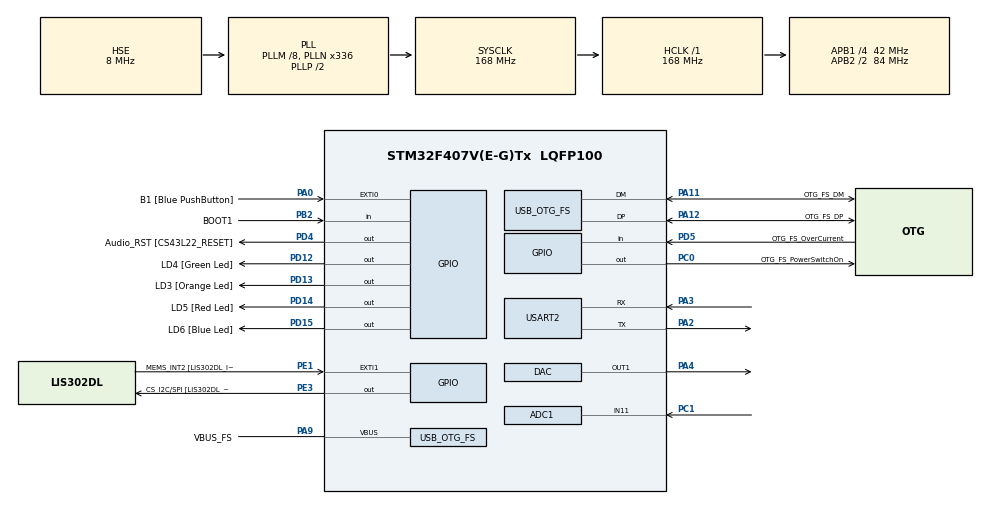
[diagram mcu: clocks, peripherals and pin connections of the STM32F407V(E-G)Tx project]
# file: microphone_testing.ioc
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ADC1.Channel-2\#ChannelRegularConversion=ADC_CHANNEL_11
ADC1.ContinuousConvMode=ENABLE
ADC1.NbrOfConversion=1
ADC1.NbrOfConversionFlag=1
ADC1.Rank-2\#ChannelRegularConversion=1
ADC1.SamplingTime-2\#ChannelRegularConversion=ADC_SAMPLETIME_3CYCLES
ADC1.master=1
Mcu.Family=STM32F4
Mcu.Name=STM32F407V(E-G)Tx
Mcu.Package=LQFP100
NVIC.ADC_IRQn=true\:0\:0\:false\:false\:true\:true\:true
NVIC.OTG_FS_IRQn=true\:0\:0\:false\:false\:true\:true\:true
NVIC.PriorityGroup=NVIC_PRIORITYGROUP_0
NVIC.USART2_IRQn=true\:0\:0\:false\:false\:true\:true\:true
PA0-WKUP.GPIO_Label=B1 [Blue PushButton]
PA0-WKUP.GPIO_ModeDefaultEXTI=GPIO_MODE_EVT_RISING
PA0-WKUP.GPIO_PuPd=GPIO_NOPULL
PA0-WKUP.Signal=GPXTI0
PA10.GPIO_Label=OTG_FS_ID
PA10.GPIO_Mode=GPIO_MODE_AF_PP
PA10.GPIO_PuPd=GPIO_NOPULL
PA10.GPIO_Speed=GPIO_SPEED_FREQ_LOW
PA10.Signal=USB_OTG_FS_ID
PA11.GPIO_Label=OTG_FS_DM
PA11.GPIO_Mode=GPIO_MODE_AF_PP
PA11.GPIO_PuPd=GPIO_NOPULL
PA11.GPIO_Speed=GPIO_SPEED_FREQ_LOW
PA11.Mode=Host_Only
PA11.Signal=USB_OTG_FS_DM
PA12.GPIO_Label=OTG_FS_DP
PA12.GPIO_Mode=GPIO_MODE_AF_PP
PA12.GPIO_PuPd=GPIO_NOPULL
PA12.GPIO_Speed=GPIO_SPEED_FREQ_LOW
PA12.Mode=Host_Only
PA12.Signal=USB_OTG_FS_DP
PA13.GPIO_Label=SWDIO
PA13.Mode=Serial_Wire
PA13.Signal=SYS_JTMS-SWDIO
PA14.GPIO_Label=SWCLK
PA14.Mode=Serial_Wire
PA14.Signal=SYS_JTCK-SWCLK
PA2.Mode=Asynchronous
PA2.Signal=USART2_TX
PA3.Mode=Asynchronous
PA3.Signal=USART2_RX
PA4.Signal=COMP_DAC1_group
PA9.GPIO_Label=VBUS_FS
PA9.GPIO_Mode=GPIO_MODE_INPUT
PA9.GPIO_PuPd=GPIO_NOPULL
PA9.Mode=Activate_VBUS
PA9.Signal=USB_OTG_FS_VBUS
PB2.GPIO_Label=BOOT1
PB2.GPIO_Mode=GPIO_MODE_INPUT
PB2.GPIO_PuPd=GPIO_NOPULL
PB2.Signal=GPIO_Input
PB3.GPIO_Label=SWO
PB3.Signal=SYS_JTDO-SWO
PC0.GPIO_Label=OTG_FS_PowerSwitchOn
PC0.GPIO_PuPd=GPIO_NOPULL
PC0.GPIO_Speed=GPIO_SPEED_FREQ_LOW
PC0.PinState=GPIO_PIN_SET
PC0.Signal=GPIO_Output
PC1.Signal=ADCx_IN11
PC14-OSC32_IN.GPIO_Label=PC14-OSC32_IN
PC14-OSC32_IN.Mode=LSE-External-Oscillator
PC14-OSC32_IN.Signal=RCC_OSC32_IN
PC15-OSC32_OUT.GPIO_Label=PC15-OSC32_OUT
PC15-OSC32_OUT.Mode=LSE-External-Oscillator
PC15-OSC32_OUT.Signal=RCC_OSC32_OUT
PC3.GPIO_Label=PDM_OUT [MP45DT02_DOUT]
PC3.GPIO_Mode=GPIO_MODE_AF_PP
PC3.GPIO_PuPd=GPIO_NOPULL
PC3.GPIO_Speed=GPIO_SPEED_FREQ_LOW
PC3.Signal=I2S2_SD
PD12.GPIO_Label=LD4 [Green Led]
PD12.GPIO_PuPd=GPIO_NOPULL
PD12.GPIO_Speed=GPIO_SPEED_FREQ_LOW
PD12.Signal=GPIO_Output
PD13.GPIO_Label=LD3 [Orange Led]
PD13.GPIO_PuPd=GPIO_NOPULL
PD13.GPIO_Speed=GPIO_SPEED_FREQ_LOW
PD13.Signal=GPIO_Output
PD14.GPIO_Label=LD5 [Red Led]
PD14.GPIO_PuPd=GPIO_NOPULL
PD14.GPIO_Speed=GPIO_SPEED_FREQ_LOW
PD14.Signal=GPIO_Output
PD15.GPIO_Label=LD6 [Blue Led]
PD15.GPIO_PuPd=GPIO_NOPULL
PD15.GPIO_Speed=GPIO_SPEED_FREQ_LOW
PD15.Signal=GPIO_Output
PD4.GPIO_Label=Audio_RST [CS43L22_RESET]
PD4.GPIO_PuPd=GPIO_NOPULL
PD4.GPIO_Speed=GPIO_SPEED_FREQ_LOW
PD4.Signal=GPIO_Output
PD5.GPIO_Label=OTG_FS_OverCurrent
PD5.GPIO_Mode=GPIO_MODE_INPUT
PD5.GPIO_PuPd=GPIO_NOPULL
PD5.Signal=GPIO_Input
PE1.GPIO_Label=MEMS_INT2 [LIS302DL_INT2]
PE1.GPIO_ModeDefaultEXTI=GPIO_MODE_EVT_RISING
PE1.GPIO_PuPd=GPIO_NOPULL
PE1.Signal=GPXTI1
PE3.GPIO_Label=CS_I2C/SPI [LIS302DL_CS_I2C/SPI]
PE3.GPIO_PuPd=GPIO_NOPULL
PE3.GPIO_Speed=GPIO_SPEED_FREQ_LOW
PE3.Signal=GPIO_Output
PH0-OSC_IN.GPIO_Label=PH0-OSC_IN
PH0-OSC_IN.Mode=HSE-External-Oscillator
PH0-OSC_IN.Signal=RCC_OSC_IN
PH1-OSC_OUT.GPIO_Label=PH1-OSC_OUT
PH1-OSC_OUT.Mode=HSE-External-Oscillator
PH1-OSC_OUT.Signal=RCC_OSC_OUT
ProjectManager.HeapSize=0x200
ProjectManager.StackSize=0x400
ProjectManager.TargetToolchain=STM32CubeIDE
RCC.48MHZClocksFreq_Value=48000000
RCC.AHBFreq_Value=168000000
RCC.APB1CLKDivider=RCC_HCLK_DIV4
RCC.APB1Freq_Value=42000000
RCC.APB1TimFreq_Value=84000000
RCC.APB2CLKDivider=RCC_HCLK_DIV2
RCC.APB2Freq_Value=84000000
RCC.APB2TimFreq_Value=168000000
RCC.CortexFreq_Value=168000000
RCC.HCLKFreq_Value=168000000
RCC.HSE_VALUE=8000000
RCC.HSI_VALUE=16000000
RCC.PLLM=8
RCC.PLLN=336
RCC.PLLQ=7
RCC.SYSCLKFreq_VALUE=168000000
RCC.SYSCLKSource=RCC_SYSCLKSOURCE_PLLCLK
RCC.VCOOutputFreq_Value=336000000
SH.ADCx_IN11.0=ADC1_IN11,IN11
SH.COMP_DAC1_group.0=DAC_OUT1,DAC_OUT1
USART2.VirtualMode=VM_ASYNC
USB_HOST.BSP.number=1
USB_HOST.USBH_HandleTypeDef-CDC_FS=hUsbHostFS
USB_HOST.VirtualModeFS=Cdc
USB_HOST0.BSP.STBoard=false
USB_HOST0.BSP.api=Unknown
USB_HOST0.BSP.i2caddr=0
USB_HOST0.BSP.i2creg=0
USB_HOST0.BSP.instance=PC0
USB_HOST0.BSP.ip=GPIO
USB_HOST0.BSP.mode=Output
USB_HOST0.BSP.name=Drive_VBUS_FS
USB_HOST0.BSP.solution=PC0
USB_OTG_FS.VirtualMode=Host_Only
USB_OTG_FS.phy_itface=HCD_PHY_EMBEDDED
VP_USB_HOST_VS_USB_HOST_CDC_FS.Mode=CDC_FS
board=STM32F407G-DISC1

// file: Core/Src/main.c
/* USER CODE BEGIN Header */
/**
  ******************************************************************************
  * @file           : main.c
  * @brief          : Main program body
  ******************************************************************************
  * @attention
  *
  * <h2><center>&copy; Copyright (c) 2020 STMicroelectronics.
  * All rights reserved.</center></h2>
  *
  * This software component is licensed by ST under Ultimate Liberty license
  * SLA0044, the "License"; You may not use this file except in compliance with
  * the License. You may obtain a copy of the License at:
  *                             www.st.com/SLA0044
  *
  ******************************************************************************
  */
/* USER CODE END Header */
#include "main.h"
#include "usb_host.h"

/* USER CODE BEGIN Includes */
#include "UART/uart.h"
/* USER CODE END Includes */

/* USER CODE BEGIN PTD */
typedef enum
{
	HALT=0,
	SEND,
	RECIEVE
}statemode;y
/* USER CODE END PTD */

ADC_HandleTypeDef hadc1;

DAC_HandleTypeDef hdac;

UART_HandleTypeDef huart2;

/* USER CODE BEGIN PV */
statemode mode=HALT;
uint8_t lastdata=0;
uint8_t data;

uint16_t adcinputvalue;
uint16_t adcoutputvalue;

char UARTgetchar[1],UARTbuffer[20];
uint8_t newblockdata=0;
uint8_t devicerecieve=0;

uint32_t globaldata=0;
/* USER CODE END PV */

void SystemClock_Config(void);
static void MX_GPIO_Init(void);
static void MX_ADC1_Init(void);
static void MX_DAC_Init(void);
static void MX_USART2_UART_Init(void);
void MX_USB_HOST_Process(void);

/* USER CODE BEGIN 0 */
void soundout()
{
	HAL_DAC_SetValue(&hdac, DAC_CHANNEL_1, DAC_ALIGN_12B_R, (uint32_t)adcinputvalue);
}

void HAL_ADC_ConvCpltCallback(ADC_HandleTypeDef* hadc)
{
	if(hadc->Instance==hadc1.Instance)
		adcinputvalue=HAL_ADC_GetValue(hadc);
}

void HAL_UART_RxCpltCallback(UART_HandleTypeDef *huart)
{
	if(huart->Instance==USART2)
	{
		if(newblockdata==0)
			getdata();
		HAL_UART_Receive_IT(&huart2, UARTgetchar, 1);
	}
}
/* USER CODE END 0 */

int main(void)
{

  /* MCU Configuration--------------------------------------------------------*/

  /* Reset of all peripherals, Initializes the Flash interface and the Systick. */
  HAL_Init();

  /* Configure the system clock */
  SystemClock_Config();

  /* Initialize all configured peripherals */
  MX_GPIO_Init();
  MX_USB_HOST_Init();
  MX_ADC1_Init();
  MX_DAC_Init();
  MX_USART2_UART_Init();
  /* USER CODE BEGIN 2 */
  HAL_ADC_Start_IT(&hadc1);
  HAL_DAC_Start(&hdac, DAC_CHANNEL_1);
  HAL_UART_Receive_IT(&huart2, UARTgetchar, 1);
  /* USER CODE END 2 */

  /* Infinite loop */
  /* USER CODE BEGIN WHILE */
  while (1)
  {
	uint8_t lengthbuffer;
	uint16_t checksum;

	data=HAL_GPIO_ReadPin(GPIOA, GPIO_PIN_0);
    /* USER CODE END WHILE */
    MX_USB_HOST_Process();

    /* USER CODE BEGIN 3 */
    if (newblockdata==1)
    {
    	uint8_t var,var1;
    	uint16_t copy=0;
    	char cache[5];

    	lengthbuffer=strlen(UARTbuffer);
    	for (var = 0; var < lengthbuffer; ++var)
    	{
			if(UARTbuffer[var]=='.')
			{
				if (!strcmp(cache,"STA"))
					mode=RECIEVE;
				else if (!strcmp(cache,"END"))
					mode=HALT;
				else if(copy>0)
				{
					if(copy==1)
						adcoutputvalue=strtol(cache, &cache, 10);
					else
						checksum=strtol(cache, &cache, 10);
				}
				var1=0;
				++copy;
			}
			else
				cache[var1++]=UARTbuffer[var];
		}
	}
    switch (mode) {
		case HALT:
			newblockdata=0;
			break;
		case SEND:
			break;
		case RECIEVE:
			if(che)
			newblockdata=0;
			break;
		default:
			break;
	}
    lastdata=data;
  }
  /* USER CODE END 3 */
}

void SystemClock_Config(void)
{
  RCC_OscInitTypeDef RCC_OscInitStruct = {0};
  RCC_ClkInitTypeDef RCC_ClkInitStruct = {0};

  /** Configure the main internal regulator output voltage
  */
  __HAL_RCC_PWR_CLK_ENABLE();
  __HAL_PWR_VOLTAGESCALING_CONFIG(PWR_REGULATOR_VOLTAGE_SCALE1);
  /** Initializes the RCC Oscillators according to the specified parameters
  * in the RCC_OscInitTypeDef structure.
  */
  RCC_OscInitStruct.OscillatorType = RCC_OSCILLATORTYPE_HSE;
  RCC_OscInitStruct.HSEState = RCC_HSE_ON;
  RCC_OscInitStruct.PLL.PLLState = RCC_PLL_ON;
  RCC_OscInitStruct.PLL.PLLSource = RCC_PLLSOURCE_HSE;
  RCC_OscInitStruct.PLL.PLLM = 8;
  RCC_OscInitStruct.PLL.PLLN = 336;
  RCC_OscInitStruct.PLL.PLLP = RCC_PLLP_DIV2;
  RCC_OscInitStruct.PLL.PLLQ = 7;
  if (HAL_RCC_OscConfig(&RCC_OscInitStruct) != HAL_OK)
  {
    Error_Handler();
  }
  /** Initializes the CPU, AHB and APB buses clocks
  */
  RCC_ClkInitStruct.ClockType = RCC_CLOCKTYPE_HCLK|RCC_CLOCKTYPE_SYSCLK
                              |RCC_CLOCKTYPE_PCLK1|RCC_CLOCKTYPE_PCLK2;
  RCC_ClkInitStruct.SYSCLKSource = RCC_SYSCLKSOURCE_PLLCLK;
  RCC_ClkInitStruct.AHBCLKDivider = RCC_SYSCLK_DIV1;
  RCC_ClkInitStruct.APB1CLKDivider = RCC_HCLK_DIV4;
  RCC_ClkInitStruct.APB2CLKDivider = RCC_HCLK_DIV2;

  if (HAL_RCC_ClockConfig(&RCC_ClkInitStruct, FLASH_LATENCY_5) != HAL_OK)
  {
    Error_Handler();
  }
}

static void MX_ADC1_Init(void)
{

  ADC_ChannelConfTypeDef sConfig = {0};

  /** Configure the global features of the ADC (Clock, Resolution, Data Alignment and number of conversion)
  */
  hadc1.Instance = ADC1;
  hadc1.Init.ClockPrescaler = ADC_CLOCK_SYNC_PCLK_DIV4;
  hadc1.Init.Resolution = ADC_RESOLUTION_12B;
  hadc1.Init.ScanConvMode = DISABLE;
  hadc1.Init.ContinuousConvMode = ENABLE;
  hadc1.Init.DiscontinuousConvMode = DISABLE;
  hadc1.Init.ExternalTrigConvEdge = ADC_EXTERNALTRIGCONVEDGE_NONE;
  hadc1.Init.ExternalTrigConv = ADC_SOFTWARE_START;
  hadc1.Init.DataAlign = ADC_DATAALIGN_RIGHT;
  hadc1.Init.NbrOfConversion = 1;
  hadc1.Init.DMAContinuousRequests = DISABLE;
  hadc1.Init.EOCSelection = ADC_EOC_SINGLE_CONV;
  if (HAL_ADC_Init(&hadc1) != HAL_OK)
  {
    Error_Handler();
  }
  /** Configure for the selected ADC regular channel its corresponding rank in the sequencer and its sample time.
  */
  sConfig.Channel = ADC_CHANNEL_11;
  sConfig.Rank = 1;
  sConfig.SamplingTime = ADC_SAMPLETIME_3CYCLES;
  if (HAL_ADC_ConfigChannel(&hadc1, &sConfig) != HAL_OK)
  {
    Error_Handler();
  }

}

static void MX_DAC_Init(void)
{

  DAC_ChannelConfTypeDef sConfig = {0};

  /** DAC Initialization
  */
  hdac.Instance = DAC;
  if (HAL_DAC_Init(&hdac) != HAL_OK)
  {
    Error_Handler();
  }
  /** DAC channel OUT1 config
  */
  sConfig.DAC_Trigger = DAC_TRIGGER_NONE;
  sConfig.DAC_OutputBuffer = DAC_OUTPUTBUFFER_ENABLE;
  if (HAL_DAC_ConfigChannel(&hdac, &sConfig, DAC_CHANNEL_1) != HAL_OK)
  {
    Error_Handler();
  }

}

static void MX_USART2_UART_Init(void)
{

  huart2.Instance = USART2;
  huart2.Init.BaudRate = 115200;
  huart2.Init.WordLength = UART_WORDLENGTH_8B;
  huart2.Init.StopBits = UART_STOPBITS_1;
  huart2.Init.Parity = UART_PARITY_NONE;
  huart2.Init.Mode = UART_MODE_TX_RX;
  huart2.Init.HwFlowCtl = UART_HWCONTROL_NONE;
  huart2.Init.OverSampling = UART_OVERSAMPLING_16;
  if (HAL_UART_Init(&huart2) != HAL_OK)
  {
    Error_Handler();
  }

}

static void MX_GPIO_Init(void)
{
  GPIO_InitTypeDef GPIO_InitStruct = {0};

  /* GPIO Ports Clock Enable */
  __HAL_RCC_GPIOE_CLK_ENABLE();
  __HAL_RCC_GPIOC_CLK_ENABLE();
  __HAL_RCC_GPIOH_CLK_ENABLE();
  __HAL_RCC_GPIOA_CLK_ENABLE();
  __HAL_RCC_GPIOB_CLK_ENABLE();
  __HAL_RCC_GPIOD_CLK_ENABLE();

  /*Configure GPIO pin Output Level */
  HAL_GPIO_WritePin(CS_I2C_SPI_GPIO_Port, CS_I2C_SPI_Pin, GPIO_PIN_RESET);

  /*Configure GPIO pin Output Level */
  HAL_GPIO_WritePin(OTG_FS_PowerSwitchOn_GPIO_Port, OTG_FS_PowerSwitchOn_Pin, GPIO_PIN_SET);

  /*Configure GPIO pin Output Level */
  HAL_GPIO_WritePin(GPIOD, LD4_Pin|LD3_Pin|LD5_Pin|LD6_Pin
                          |Audio_RST_Pin, GPIO_PIN_RESET);

  /*Configure GPIO pin : CS_I2C_SPI_Pin */
  GPIO_InitStruct.Pin = CS_I2C_SPI_Pin;
  GPIO_InitStruct.Mode = GPIO_MODE_OUTPUT_PP;
  GPIO_InitStruct.Pull = GPIO_NOPULL;
  GPIO_InitStruct.Speed = GPIO_SPEED_FREQ_LOW;
  HAL_GPIO_Init(CS_I2C_SPI_GPIO_Port, &GPIO_InitStruct);

  /*Configure GPIO pin : OTG_FS_PowerSwitchOn_Pin */
  GPIO_InitStruct.Pin = OTG_FS_PowerSwitchOn_Pin;
  GPIO_InitStruct.Mode = GPIO_MODE_OUTPUT_PP;
  GPIO_InitStruct.Pull = GPIO_NOPULL;
  GPIO_InitStruct.Speed = GPIO_SPEED_FREQ_LOW;
  HAL_GPIO_Init(OTG_FS_PowerSwitchOn_GPIO_Port, &GPIO_InitStruct);

  /*Configure GPIO pin : PDM_OUT_Pin */
  GPIO_InitStruct.Pin = PDM_OUT_Pin;
  GPIO_InitStruct.Mode = GPIO_MODE_AF_PP;
  GPIO_InitStruct.Pull = GPIO_NOPULL;
  GPIO_InitStruct.Speed = GPIO_SPEED_FREQ_LOW;
  GPIO_InitStruct.Alternate = GPIO_AF5_SPI2;
  HAL_GPIO_Init(PDM_OUT_GPIO_Port, &GPIO_InitStruct);

  /*Configure GPIO pin : B1_Pin */
  GPIO_InitStruct.Pin = B1_Pin;
  GPIO_InitStruct.Mode = GPIO_MODE_EVT_RISING;
  GPIO_InitStruct.Pull = GPIO_NOPULL;
  HAL_GPIO_Init(B1_GPIO_Port, &GPIO_InitStruct);

  /*Configure GPIO pin : BOOT1_Pin */
  GPIO_InitStruct.Pin = BOOT1_Pin;
  GPIO_InitStruct.Mode = GPIO_MODE_INPUT;
  GPIO_InitStruct.Pull = GPIO_NOPULL;
  HAL_GPIO_Init(BOOT1_GPIO_Port, &GPIO_InitStruct);

  /*Configure GPIO pins : LD4_Pin LD3_Pin LD5_Pin LD6_Pin
                           Audio_RST_Pin */
  GPIO_InitStruct.Pin = LD4_Pin|LD3_Pin|LD5_Pin|LD6_Pin
                          |Audio_RST_Pin;
  GPIO_InitStruct.Mode = GPIO_MODE_OUTPUT_PP;
  GPIO_InitStruct.Pull = GPIO_NOPULL;
  GPIO_InitStruct.Speed = GPIO_SPEED_FREQ_LOW;
  HAL_GPIO_Init(GPIOD, &GPIO_InitStruct);

  /*Configure GPIO pin : OTG_FS_OverCurrent_Pin */
  GPIO_InitStruct.Pin = OTG_FS_OverCurrent_Pin;
  GPIO_InitStruct.Mode = GPIO_MODE_INPUT;
  GPIO_InitStruct.Pull = GPIO_NOPULL;
  HAL_GPIO_Init(OTG_FS_OverCurrent_GPIO_Port, &GPIO_InitStruct);

  /*Configure GPIO pin : MEMS_INT2_Pin */
  GPIO_InitStruct.Pin = MEMS_INT2_Pin;
  GPIO_InitStruct.Mode = GPIO_MODE_EVT_RISING;
  GPIO_InitStruct.Pull = GPIO_NOPULL;
  HAL_GPIO_Init(MEMS_INT2_GPIO_Port, &GPIO_InitStruct);

}

void Error_Handler(void)
{
}

/************************ (C) COPYRIGHT STMicroelectronics *****END OF FILE****/
